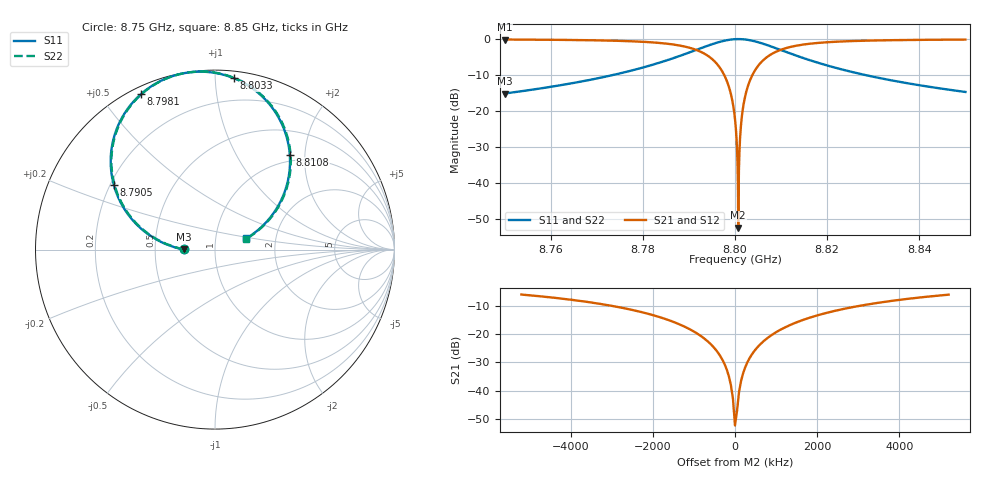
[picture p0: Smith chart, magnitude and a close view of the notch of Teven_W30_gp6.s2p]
! Sonnet Data File
! From: emgraph Version : 16.52
! From Project: transmon_trial
! Data is De-embedded
! Data File Written: 10/20/2017 15:56:55
!< HDATE 10/20/2017 14:38:19
!< MDATE 10/20/2017 14:38:19
!< PARAMS
!< Lj = 15.24
!< Gap = 6.0
!< Width = 30.0
!< Airgap = 18.0
!< Pwidth = 2000.0
!< END PARAMS
# GHZ S MA R 51.00000
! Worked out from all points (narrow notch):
!   2001 points, 8.75 GHz to 8.85 GHz, reference 51 ohm
!   highest |S21| = -0.14 dB at 8.75 GHz (marker M1); lowest = -52.3 dB at 8.8007 GHz (marker M2)
!   notch at M2: 51.8 dB deep, 874 kHz wide at half that depth
!   lowest |S11| = -15.1 dB at 8.75 GHz (marker M3), VSWR 1.43, Z = 35.8 + j0.0656 ohm
!   |S11| at or under -10 dB: start of sweep to 8.773461 GHz; 8.828313 GHz to end of sweep
!   |S22| runs from -15.1 to 0.0 dB; largest |S21 - S12| = 0
!   S11 on the Smith chart (normalised r, x): 8.75 GHz: 0.70, +0.00; 8.7905 GHz: 0.22, +0.28; 8.7981 GHz: 0.03, +0.63; 8.8033 GHz: 0.05, +1.12; 8.8108 GHz: 0.88, +1.71; 8.85 GHz: 1.41, +0.18
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8.75  0.1754 179.7  0.9844 -90.5  0.9844 -90.5  0.1754 179.3
!< P1 F=8.75 Eeff=(6.44478859 -3.0299e-5) Z0=(50.6169052 1.12794e-4) R=0.0 C=0.0
!< P2 F=8.75 Eeff=(6.44478859 -3.0299e-5) Z0=(50.6169052 1.12794e-4) R=0.0 C=0.0
8.7667  0.2577 174.7  0.9661 -95.4  0.9661 -95.4  0.2577 174.3
8.78335  0.4643 161.8  0.8852 -108.3  0.8852 -108.3  0.4643 161.4
8.79055  0.6674 147.5  0.7436 -122.6  0.7436 -122.6  0.6674 147.1
8.79515  0.8528 130.8  0.5196 -139.3  0.5196 -139.3  0.8528 130.3
8.7981  0.9597 115.4  0.2745 -154.5  0.2745 -154.5  0.9597 114.9
8.7993  0.9864 108.2  0.1525 -161.3  0.1525 -161.3  0.9864 107.7
8.7997  0.992 105.7  0.11 -163.5  0.11 -163.5  0.992 105.3
8.8  0.9951 103.9  0.07767 -164.9  0.07767 -164.9  0.9951 103.4
8.80035  0.9973 101.7  0.03968 -165.8  0.03968 -165.8  0.9973 101.2
8.8007  0.9981 99.5  0.002418 -117.8  0.002418 -117.8  0.9981 99.0
8.80105  0.9974 97.3  0.03677 4.1  0.03677 4.1  0.9974 96.8
8.8014  0.9953 95.1  0.07476 3.4  0.07476 3.4  0.9953 94.6
8.80185  0.9905 92.3  0.1231 1.2  0.1231 1.2  0.9905 91.9
8.80245  0.9806 88.7  0.1862 -2.1  0.1862 -2.1  0.9806 88.2
8.8033  0.9606 83.6  0.2716 -7.0  0.2716 -7.0  0.9606 83.2
8.8062  0.8565 68.5  0.5133 -21.9  0.5133 -21.9  0.8565 68.0
8.81075  0.6737 51.8  0.7378 -38.6  0.7378 -38.6  0.6737 51.3
8.8167  0.4976 39.2  0.8668 -51.1  0.8668 -51.1  0.4976 38.7
8.82365  0.3719 31.1  0.928 -59.2  0.928 -59.2  0.3719 30.6
8.83335  0.2716 25.0  0.9623 -65.4  0.9623 -65.4  0.2716 24.4
8.85  0.1844 19.7  0.9828 -70.7  0.9828 -70.7  0.1844 19.1
